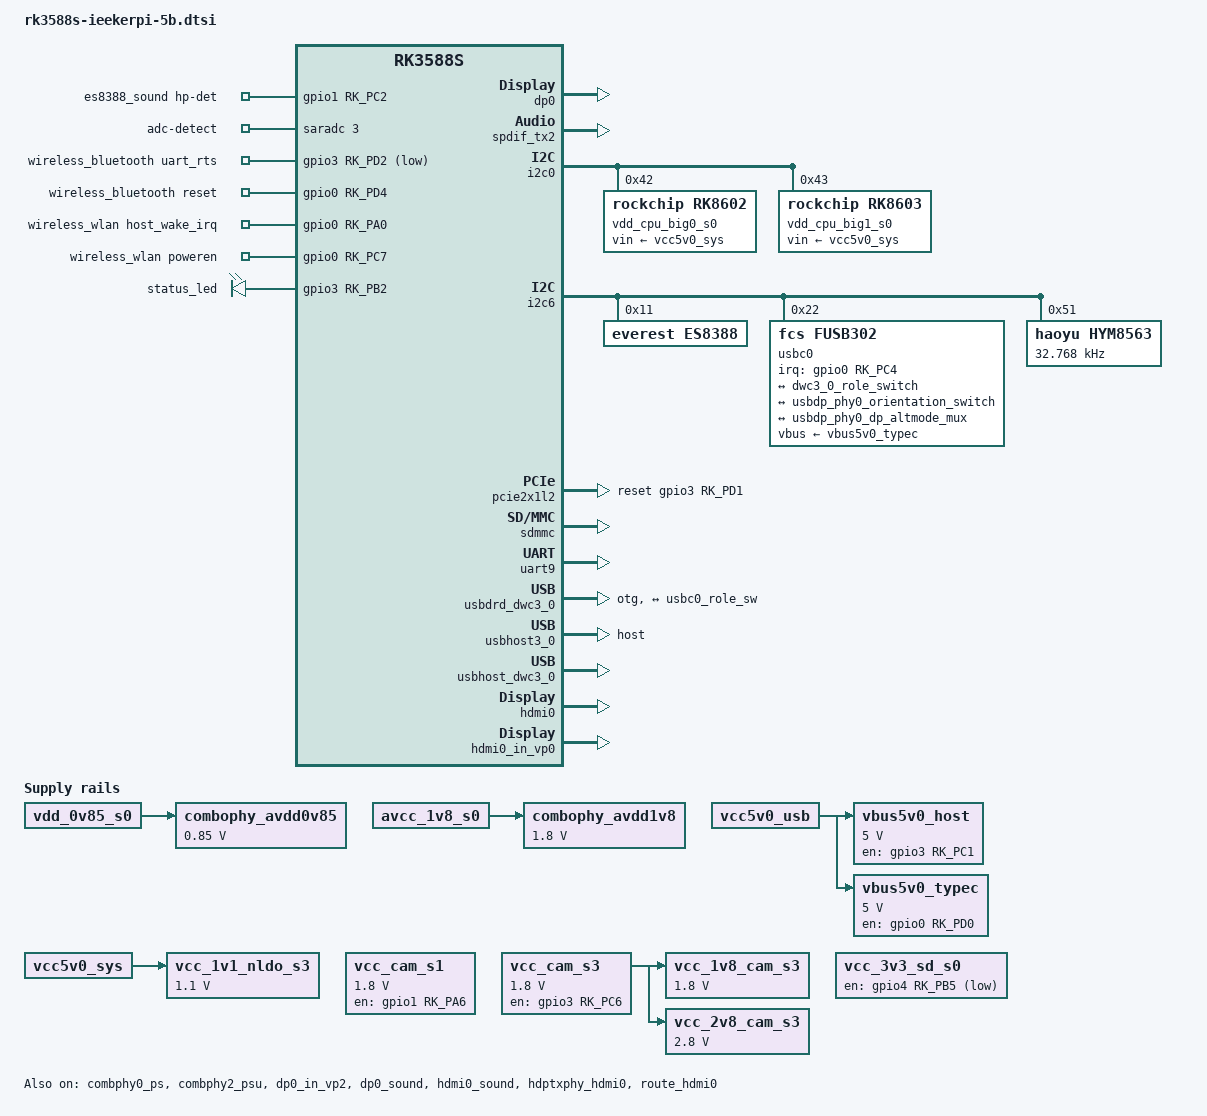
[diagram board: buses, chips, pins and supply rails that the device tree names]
// SPDX-License-Identifier: (GPL-2.0+ OR MIT)
/*
 * Copyright (c) 2021 Rockchip Electronics Co., Ltd.
 *
 */

#include "dt-bindings/usb/pd.h"
#include "rk3588s.dtsi"
#include "rk3588s-ieekerpi-core.dtsi"
#include "rk3588-rk806-single.dtsi"

/ {

	bt-sound {
		compatible = "simple-audio-card";
		simple-audio-card,format = "dsp_a";
		simple-audio-card,bitclock-inversion = <1>;
		simple-audio-card,mclk-fs = <256>;
		simple-audio-card,name = "rockchip,bt";
		simple-audio-card,cpu {
				sound-dai = <&i2s0_8ch>;
		};
		simple-audio-card,codec {
				sound-dai = <&bt_sco>;
		};
	};

	bt_sco: bt-sco {
		compatible = "delta,dfbmcs320";
		#sound-dai-cells = <0>;
		status = "okay";
	};

	combophy_avdd0v85: combophy-avdd0v85 {
		compatible = "regulator-fixed";
		regulator-name = "combophy_avdd0v85";
		regulator-boot-on;
		regulator-always-on;
		regulator-min-microvolt = <850000>;
		regulator-max-microvolt = <850000>;
		vin-supply = <&vdd_0v85_s0>;
	};

	combophy_avdd1v8: combophy-avdd1v8 {
		compatible = "regulator-fixed";
		regulator-name = "combophy_avdd1v8";
		regulator-boot-on;
		regulator-always-on;
		regulator-min-microvolt = <1800000>;
		regulator-max-microvolt = <1800000>;
		vin-supply = <&avcc_1v8_s0>;
	};

	es8388_sound: es8388-sound {
		status = "okay";
		compatible = "rockchip,multicodecs-card";
		rockchip,card-name = "rockchip-es8388";
		hp-det-gpio = <&gpio1 RK_PC2 GPIO_ACTIVE_HIGH>;
		/*hp-con-gpio = <&gpio3 RK_PB7 GPIO_ACTIVE_HIGH>;*/
		io-channels = <&saradc 3>;
		io-channel-names = "adc-detect";
		keyup-threshold-microvolt = <1800000>;
		poll-interval = <100>;
		rockchip,format = "i2s";
		rockchip,mclk-fs = <256>;
		rockchip,cpu = <&i2s1_8ch>;
		rockchip,codec = <&es8388>;
		rockchip,audio-routing =
			"Headphone", "LOUT1",
			"Headphone", "ROUT1",
			"Headphone", "Headphone Power",
			"Headphone", "Headphone Power",
			"LINPUT1", "Main Mic",
			"LINPUT2", "Main Mic",
			"RINPUT1", "Headset Mic",
			"RINPUT2", "Headset Mic";
		pinctrl-names = "default";
		pinctrl-0 = <&hp_det>;
		play-pause-key {
			label = "playpause";
			linux,code = <KEY_PLAYPAUSE>;
			press-threshold-microvolt = <2000>;
		};
	};

	vbus5v0_host: vbus5v0-host {
		compatible = "regulator-fixed";
		regulator-name = "vbus5v0_host";
		regulator-boot-on;
		regulator-always-on;
		regulator-min-microvolt = <5000000>;
		regulator-max-microvolt = <5000000>;
		enable-active-high;
		regulator-off-in-suspend;
		gpio = <&gpio3 RK_PC1 GPIO_ACTIVE_HIGH>;
		vin-supply = <&vcc5v0_usb>;
		pinctrl-names = "default";
		pinctrl-0 = <&vcc5v0_host_en>;
	};

	vbus5v0_typec: vbus5v0-typec {
		compatible = "regulator-fixed";
		regulator-name = "vbus5v0_typec";
		regulator-min-microvolt = <5000000>;
		regulator-max-microvolt = <5000000>;
		enable-active-high;
		gpio = <&gpio0 RK_PD0 GPIO_ACTIVE_HIGH>;
		vin-supply = <&vcc5v0_usb>;
		pinctrl-names = "default";
		pinctrl-0 = <&typec5v_pwren>;
	};

	vcc_cam_s1: vcc-cam-s1 {
		compatible = "regulator-fixed";
		regulator-name = "vcc_cam_s3";
		regulator-min-microvolt = <1800000>;
		regulator-max-microvolt = <1800000>;
		regulator-boot-on;
		regulator-always-on;
		enable-active-high;
		regulator-off-in-suspend;
		gpio = <&gpio1 RK_PA6 GPIO_ACTIVE_HIGH>;
		pinctrl-names = "default";
		pinctrl-0 = <&vcc_cam_s1_pwr>;
	};

	vcc_cam_s3: vcc-cam-s3 {
		compatible = "regulator-fixed";
		regulator-name = "vcc_cam_s3";
		regulator-min-microvolt = <1800000>;
		regulator-max-microvolt = <1800000>;
		regulator-boot-on;
		regulator-always-on;
		enable-active-high;
		regulator-off-in-suspend;
		gpio = <&gpio3 RK_PC6 GPIO_ACTIVE_HIGH>;
		pinctrl-names = "default";
		pinctrl-0 = <&vcc_cam_s3_pwr>;
	};

	vcc_1v8_cam_s3: vcc-1v8-cam-s0 {
		compatible = "regulator-fixed";
		regulator-name = "vcc_1v8_cam_s3";
		regulator-min-microvolt = <1800000>;
		regulator-max-microvolt = <1800000>;
		vin-supply = <&vcc_cam_s3>;
	};

	vcc_2v8_cam_s3: vcc-2v8-cam-s3 {
		compatible = "regulator-fixed";
		regulator-name = "vcc_2v8_cam_s3";
		regulator-min-microvolt = <2800000>;
		regulator-max-microvolt = <2800000>;
		vin-supply = <&vcc_cam_s3>;
	};

	vcc_1v1_nldo_s3: vcc-1v1-nldo-s3 {
		compatible = "regulator-fixed";
		regulator-name = "vcc_1v1_nldo_s3";
		regulator-always-on;
		regulator-boot-on;
		regulator-min-microvolt = <1100000>;
		regulator-max-microvolt = <1100000>;
		vin-supply = <&vcc5v0_sys>;
	};

	vcc_3v3_sd_s0: vcc-3v3-sd-s0-regulator {
		compatible = "regulator-fixed";
		gpio = <&gpio4 RK_PB5 GPIO_ACTIVE_LOW>;
		pinctrl-names = "default";
		pinctrl-0 = <&sd_s0_pwr>;
		regulator-name = "vcc_3v3_sd_s0";
		enable-active-low;
	};

	wireless_bluetooth: wireless-bluetooth {
		compatible = "bluetooth-platdata";
		clocks = <&hym8563>;
		clock-names = "ext_clock";
		uart_rts_gpios = <&gpio3 RK_PD2 GPIO_ACTIVE_LOW>;
		pinctrl-names = "default", "rts_gpio";
		pinctrl-0 = <&uart9m2_rtsn>, <&bt_gpio>;
		pinctrl-1 = <&uart9_gpios>;
		BT,reset_gpio    = <&gpio0 RK_PD4 GPIO_ACTIVE_HIGH>;
		//BT,wake_gpio     = <&gpio0 RK_PC6 GPIO_ACTIVE_HIGH>;
		//BT,wake_host_irq = <&gpio0 RK_PC5 GPIO_ACTIVE_HIGH>;
		status = "okay";
	};

	wireless_wlan: wireless-wlan {
		compatible = "wlan-platdata";
		wifi_chip_type = "ap6275p";
		pinctrl-names = "default";
		pinctrl-0 = <&wifi_host_wake_irq>, <&wifi_poweren_gpio>;
		WIFI,host_wake_irq = <&gpio0 RK_PA0 GPIO_ACTIVE_HIGH>;
		WIFI,poweren_gpio = <&gpio0 RK_PC7 GPIO_ACTIVE_HIGH>;
		status = "okay";
	};

	leds: gpio-leds {
		compatible = "gpio-leds";
		pinctrl-names = "default";
		pinctrl-0 =<&leds_gpio>;
		status = "okay";

		led@1 {
			gpios = <&gpio3 RK_PB2 GPIO_ACTIVE_HIGH>;
			label = "status_led";
			linux,default-trigger = "heartbeat";
			linux,default-trigger-delay-ms = <0>;
		};
	};
};


&combphy0_ps {
	status = "okay";
};

&combphy2_psu {
        status = "okay";
};

&dp0 {
        status = "okay";
};

&dp0_in_vp2 {
        status = "okay";
};

&dp0_sound{
        status = "okay";
};

&spdif_tx2{
        status = "okay";
};

&i2c0 {
	status = "okay";
	pinctrl-names = "default";
	pinctrl-0 = <&i2c0m2_xfer>;

	vdd_cpu_big0_s0: vdd_cpu_big0_mem_s0: rk8602@42 {
		compatible = "rockchip,rk8602";
		reg = <0x42>;
		vin-supply = <&vcc5v0_sys>;
		regulator-compatible = "rk860x-reg";
		regulator-name = "vdd_cpu_big0_s0";
		regulator-min-microvolt = <550000>;
		regulator-max-microvolt = <1050000>;
		regulator-ramp-delay = <2300>;
		rockchip,suspend-voltage-selector = <1>;
		regulator-boot-on;
		regulator-always-on;
		regulator-state-mem {
			regulator-off-in-suspend;
		};
	};

	vdd_cpu_big1_s0: vdd_cpu_big1_mem_s0: rk8603@43 {
		compatible = "rockchip,rk8603";
		reg = <0x43>;
		vin-supply = <&vcc5v0_sys>;
		regulator-compatible = "rk860x-reg";
		regulator-name = "vdd_cpu_big1_s0";
		regulator-min-microvolt = <550000>;
		regulator-max-microvolt = <1050000>;
		regulator-ramp-delay = <2300>;
		rockchip,suspend-voltage-selector = <1>;
		regulator-boot-on;
		regulator-always-on;
		regulator-state-mem {
			regulator-off-in-suspend;
		};
	};
};

&i2c4 {
	status = "disabled";
};

&i2c6 {
	status = "okay";
	pinctrl-names = "default";
	pinctrl-0 = <&i2c6m3_xfer>;

	es8388: es8388@11 {
		status = "okay";
		#sound-dai-cells = <0>;
		compatible = "everest,es8388", "everest,es8323";
		reg = <0x11>;
		clocks = <&mclkout_i2s1>;
		clock-names = "mclk";
		assigned-clocks = <&mclkout_i2s1>;
		assigned-clock-rates = <12288000>;
		pinctrl-names = "default";
		pinctrl-0 = <&i2s1m0_mclk>;
	};

	usbc0: fusb302@22 {
		compatible = "fcs,fusb302";
		reg = <0x22>;
		interrupt-parent = <&gpio0>;
		interrupts = <RK_PC4 IRQ_TYPE_LEVEL_LOW>;
		pinctrl-names = "default";
		pinctrl-0 = <&usbc0_int>;
		vbus-supply = <&vbus5v0_typec>;
		status = "okay";

		ports {
			#address-cells = <1>;
			#size-cells = <0>;

			port@0 {
				reg = <0>;
				usbc0_role_sw: endpoint@0 {
					remote-endpoint = <&dwc3_0_role_switch>;
				};
			};
		};

		usb_con: connector {
			compatible = "usb-c-connector";
			label = "USB-C";
			data-role = "dual";
			power-role = "dual";
			try-power-role = "sink";
			op-sink-microwatt = <1000000>;
			sink-pdos =
				<PDO_FIXED(5000, 1000, PDO_FIXED_USB_COMM)>;
			source-pdos =
				<PDO_FIXED(5000, 3000, PDO_FIXED_USB_COMM)>;

			altmodes {
				#address-cells = <1>;
				#size-cells = <0>;

				altmode@0 {
					reg = <0>;
					svid = <0xff01>;
					vdo = <0xffffffff>;
				};
			};

			ports {
				#address-cells = <1>;
				#size-cells = <0>;

				port@0 {
					reg = <0>;
					usbc0_orien_sw: endpoint {
						remote-endpoint = <&usbdp_phy0_orientation_switch>;
					};
				};

				port@1 {
					reg = <1>;
					dp_altmode_mux: endpoint {
						remote-endpoint = <&usbdp_phy0_dp_altmode_mux>;
					};
				};
			};
		};
	};

	hym8563: hym8563@51 {
		compatible = "haoyu,hym8563";
		reg = <0x51>;
		#clock-cells = <0>;
		clock-frequency = <32768>;
		clock-output-names = "hym8563";
		// pinctrl-names = "default";
		// pinctrl-0 = <&hym8563_int>;
		// interrupt-parent = <&gpio0>;
		// interrupts = <RK_PB0 IRQ_TYPE_LEVEL_LOW>;
		// wakeup-source;
	};
};

&pcie2x1l1 {
	status = "disabled";
};

&pcie2x1l2 {
	reset-gpios = <&gpio3 RK_PD1 GPIO_ACTIVE_HIGH>;
	rockchip,skip-scan-in-resume;
	status = "okay";
};

&pdm0 {
	status = "disabled";
};

&pinctrl {
	headphone {
		hp_det: hp-det {
			rockchip,pins = <1 RK_PC2 RK_FUNC_GPIO &pcfg_pull_none>,
							<3 RK_PB7 RK_FUNC_GPIO &pcfg_pull_none>;
		};
	};

	hym8563 {
		hym8563_int: hym8563-int {
			rockchip,pins = <0 RK_PB0 RK_FUNC_GPIO &pcfg_pull_up>;
		};
	};

	leds{
		leds_gpio:leds-gpio {
			rockchip,pins =
				<3 RK_PB2 RK_FUNC_GPIO &pcfg_pull_none>;
		};
	};

	lcd {
		lcd0_rst_gpio: lcd0-rst-gpio {
			rockchip,pins = <1 RK_PB1 RK_FUNC_GPIO &pcfg_pull_none>;
		};

		lcd1_rst_gpio: lcd1-rst-gpio {
			rockchip,pins = <1 RK_PB3 RK_FUNC_GPIO &pcfg_pull_none>;
		};
	};

	sdmmc {
		sd_s0_pwr: sd-s0-pwr {
			rockchip,pins = <3 RK_PC4 RK_FUNC_GPIO &pcfg_pull_up>;
		};
	};

	usb {
		vcc5v0_host_en: vcc5v0-host-en {
			rockchip,pins = <3 RK_PC1 RK_FUNC_GPIO &pcfg_pull_none>;
		};
	};

	usb-typec {
		usbc0_int: usbc0-int {
			rockchip,pins = <0 RK_PC4 RK_FUNC_GPIO &pcfg_pull_up>;
		};

		typec5v_pwren: typec5v-pwren {
			rockchip,pins = <0 RK_PD0 RK_FUNC_GPIO &pcfg_pull_none>;
		};
	};

	wireless-bluetooth {
		uart9_gpios: uart9-gpios {
			rockchip,pins = <3 RK_PD2 RK_FUNC_GPIO &pcfg_pull_none>;
		};

		bt_gpio: bt-gpio {
			rockchip,pins =
				<0 RK_PD4 RK_FUNC_GPIO &pcfg_pull_none>,
				<0 RK_PC5 RK_FUNC_GPIO &pcfg_pull_none>,
				<0 RK_PC6 RK_FUNC_GPIO &pcfg_pull_up>;
		};
	};

	wireless-wlan {
		wifi_host_wake_irq: wifi-host-wake-irq {
			rockchip,pins = <0 RK_PA0 RK_FUNC_GPIO &pcfg_pull_down>;
		};

		wifi_poweren_gpio: wifi-poweren-gpio {
			rockchip,pins = <0 RK_PC7 RK_FUNC_GPIO &pcfg_pull_up>;
		};
	};
	camera {
		vcc_cam_s1_pwr: vcc-cam-s1-pwr {
			rockchip,pins =
				/* camera power en */
				<1 RK_PA6 RK_FUNC_GPIO &pcfg_pull_none>;
		};
		vcc_cam_s3_pwr: vcc-cam-s3-pwr {
			rockchip,pins =
				/* camera power en */
				<3 RK_PC6 RK_FUNC_GPIO &pcfg_pull_none>;
		};
		cam1_rst: cam1-rst {
			rockchip,pins =
				<1 RK_PC6 RK_FUNC_GPIO &pcfg_pull_none>;
		};
		cam3_rst: cam3-rst {
			rockchip,pins =
				<3 RK_PA6 RK_FUNC_GPIO &pcfg_pull_none>;
		};
	};
};

&pwm3 {
	status = "disabled";
};

&pwm11 {
	status = "disabled";
};

&pwm12 {
	status = "disabled";
};

&route_edp0 {
	status = "disabled";
};

&sdmmc {
	status = "okay";
};

&u2phy0_otg {
	rockchip,typec-vbus-det;
};

&u2phy2_host {
};

&u2phy3_host {
};

&uart9 {
	status = "okay";
	pinctrl-names = "default";
	pinctrl-0 = <&uart9m2_xfer &uart9m2_ctsn>;
};

&usbdp_phy0 {
	orientation-switch;
	svid = <0xff01>;
        sbu1-dc-gpios = <&gpio4 RK_PA5 GPIO_ACTIVE_HIGH>;
        sbu2-dc-gpios = <&gpio4 RK_PA7 GPIO_ACTIVE_HIGH>;

	port {
		#address-cells = <1>;
		#size-cells = <0>;
		usbdp_phy0_orientation_switch: endpoint@0 {
			reg = <0>;
			remote-endpoint = <&usbc0_orien_sw>;
		};

		usbdp_phy0_dp_altmode_mux: endpoint@1 {
			reg = <1>;
			remote-endpoint = <&dp_altmode_mux>;
		};
	};
};

&usbdrd_dwc3_0 {
    status = "okay";
    dr_mode = "otg";
	usb-role-switch;
	port {
		#address-cells = <1>;
		#size-cells = <0>;
		dwc3_0_role_switch: endpoint@0 {
			reg = <0>;
			remote-endpoint = <&usbc0_role_sw>;
		};
	};
};

&usbhost3_0 {
	status = "okay";
};

&usbhost_dwc3_0 {
	status = "okay";
};

&usbhost3_0 {
        dr_mode = "host";
        status = "okay";
};

&hdmi0 {
	enable-gpios = <&gpio4 RK_PB6 GPIO_ACTIVE_HIGH>;
	cec-enable;
	status = "okay";
};

&hdmi0_in_vp0 {
        status = "okay";
};

&hdmi0_sound {
        status = "okay";
};

&hdptxphy_hdmi0 {
        status = "okay";
};

&route_hdmi0{
        status = "okay";
};

/* vp0 & vp3 are not used on this board */
&vp0 {
        rockchip,plane-mask = <(1 << ROCKCHIP_VOP2_CLUSTER0 | 1 << ROCKCHIP_VOP2_ESMART0)>;
        rockchip,primary-plane = <ROCKCHIP_VOP2_ESMART0>;
};

&vp1 {
        rockchip,plane-mask = <(1 << ROCKCHIP_VOP2_CLUSTER1 | 1 << ROCKCHIP_VOP2_ESMART1)>;
        rockchip,primary-plane = <ROCKCHIP_VOP2_ESMART1>;
};

&vp2 {
        rockchip,plane-mask = <(1 << ROCKCHIP_VOP2_CLUSTER2 | 1 << ROCKCHIP_VOP2_ESMART2)>;
        rockchip,primary-plane = <ROCKCHIP_VOP2_ESMART2>;
};

&vp3 {
        rockchip,plane-mask = <(1 << ROCKCHIP_VOP2_CLUSTER3 | 1 << ROCKCHIP_VOP2_ESMART3)>;
        rockchip,primary-plane = <ROCKCHIP_VOP2_ESMART3>;
};
